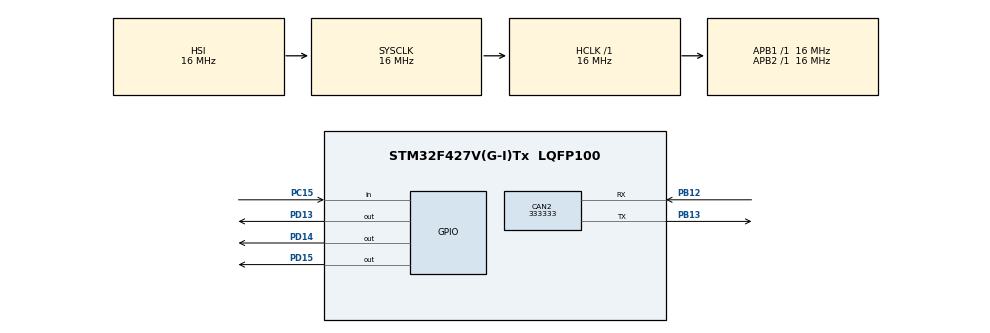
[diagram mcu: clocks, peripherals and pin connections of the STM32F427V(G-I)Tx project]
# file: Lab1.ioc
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CAN2.CalculateBaudRate=333333
CAN2.CalculateTimeBit=3000
CAN2.CalculateTimeQuantum=1000.0
Mcu.Family=STM32F4
Mcu.Name=STM32F427V(G-I)Tx
Mcu.Package=LQFP100
NVIC.PriorityGroup=NVIC_PRIORITYGROUP_4
PA13.Mode=JTAG_5_pins
PA13.Signal=SYS_JTMS-SWDIO
PA14.Mode=JTAG_5_pins
PA14.Signal=SYS_JTCK-SWCLK
PA15.Mode=JTAG_5_pins
PA15.Signal=SYS_JTDI
PB12.Mode=CAN_Activate
PB12.Signal=CAN2_RX
PB13.Mode=CAN_Activate
PB13.Signal=CAN2_TX
PB3.Mode=JTAG_5_pins
PB3.Signal=SYS_JTDO-SWO
PB4.Mode=JTAG_5_pins
PB4.Signal=SYS_JTRST
PC15/OSC32_OUT.Signal=GPIO_Input
PD13.PinState=GPIO_PIN_RESET
PD13.Signal=GPIO_Output
PD14.Signal=GPIO_Output
PD15.Signal=GPIO_Output
ProjectManager.HeapSize=0x200
ProjectManager.StackSize=0x400
ProjectManager.TargetToolchain=STM32CubeIDE
RCC.AHBFreq_Value=16000000
RCC.APB1Freq_Value=16000000
RCC.APB2Freq_Value=16000000
RCC.CortexFreq_Value=16000000
RCC.HSE_VALUE=25000000
RCC.HSI_VALUE=16000000
RCC.LSE_VALUE=32768
RCC.SYSCLKFreq_VALUE=16000000
RCC.VCOOutputFreq_Value=192000000
board=custom

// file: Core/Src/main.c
/* USER CODE BEGIN Header */
/**
  ******************************************************************************
  * @file           : main.c
  * @brief          : Main program body
  ******************************************************************************
  * @attention
  *
  * Copyright (c) 2024 STMicroelectronics.
  * All rights reserved.
  *
  * This software is licensed under terms that can be found in the LICENSE file
  * in the root directory of this software component.
  * If no LICENSE file comes with this software, it is provided AS-IS.
  *
  ******************************************************************************
  */
/* USER CODE END Header */
#include "main.h"

 CAN_HandleTypeDef hcan2;

void SystemClock_Config(void);
static void MX_GPIO_Init(void);
static void MX_CAN2_Init(void);

/* USER CODE BEGIN 0 */

void delay(uint32_t milliseconds)
{
  uint32_t startTick = HAL_GetTick();

  while((HAL_GetTick() - startTick) < milliseconds)
  {
  }
}

// 防抖相关变量
uint32_t last_button_press_time = 0;
uint8_t isButtonEnabled = 0;
uint8_t didUpdatedAtThatTime = 0;
const uint32_t debounce_delay = 10; // 防抖延迟（单位：毫秒）

uint8_t sparkling_mode = 0;

uint32_t last_sparking_time_1 = 0;
uint8_t sparkMode_1 = 0;
const uint32_t sparkling_delay_1 = 50; // 防抖延迟（单位：毫秒）
uint32_t last_sparking_time_2 = 0;
uint8_t sparkMode_2 = 0;
const uint32_t sparkling_delay_2 = 200; // 防抖延迟（单位：毫秒）
uint32_t last_sparking_time_3 = 0;
uint8_t sparkMode_3 = 0;
const uint32_t sparkling_delay_3 = 800; // 防抖延迟（单位：毫秒）

void Check_Button(void) {
	uint32_t current_time = HAL_GetTick();
	if (HAL_GPIO_ReadPin(GPIOC, GPIO_PIN_15) != isButtonEnabled) {
		isButtonEnabled = HAL_GPIO_ReadPin(GPIOC, GPIO_PIN_15);
		last_button_press_time = current_time;
		didUpdatedAtThatTime = 0;
	} else {
		if (current_time - last_button_press_time > debounce_delay && HAL_GPIO_ReadPin(GPIOC, GPIO_PIN_15) && didUpdatedAtThatTime == 0) {
			sparkling_mode = (sparkling_mode + 1) % 4;
			didUpdatedAtThatTime = 1;
		}
	}
}

void Spark(void) {
	uint32_t current_time = HAL_GetTick();

	if (sparkling_mode == 0) {
		mode_0();
	}
	if (sparkling_mode == 1) {
		mode_1(current_time);
	}
	if (sparkling_mode == 2) {
		mode_2(current_time);
	}
	if (sparkling_mode == 3) {
		mode_3(current_time);
	}
}

void mode_0(void) {
	HAL_GPIO_WritePin(GPIOD, GPIO_PIN_15, GPIO_PIN_RESET);
	HAL_GPIO_WritePin(GPIOD, GPIO_PIN_14, GPIO_PIN_SET);
	HAL_GPIO_WritePin(GPIOD, GPIO_PIN_13, GPIO_PIN_SET);
}

void mode_1(uint32_t current_time) {
	if (current_time - last_sparking_time_1 > sparkling_delay_1){
		sparkMode_1 = (sparkMode_1 + 1) % 2;
		last_sparking_time_1 = current_time;
	}

	if (sparkMode_1) {
		HAL_GPIO_WritePin(GPIOD, GPIO_PIN_15, GPIO_PIN_RESET);
		HAL_GPIO_WritePin(GPIOD, GPIO_PIN_14, GPIO_PIN_SET);
		HAL_GPIO_WritePin(GPIOD, GPIO_PIN_13, GPIO_PIN_RESET);
	} else {
		HAL_GPIO_WritePin(GPIOD, GPIO_PIN_15, GPIO_PIN_SET);
		HAL_GPIO_WritePin(GPIOD, GPIO_PIN_14, GPIO_PIN_RESET);
		HAL_GPIO_WritePin(GPIOD, GPIO_PIN_13, GPIO_PIN_SET);
	}
}

void mode_2(uint32_t current_time) {
	if (current_time - last_sparking_time_2 > sparkling_delay_2){
		sparkMode_2 = (sparkMode_2 + 1) % 2;
		last_sparking_time_2 = current_time;
	}

	if (sparkMode_2) {
		HAL_GPIO_WritePin(GPIOD, GPIO_PIN_15, GPIO_PIN_RESET);
		HAL_GPIO_WritePin(GPIOD, GPIO_PIN_14, GPIO_PIN_SET);
		HAL_GPIO_WritePin(GPIOD, GPIO_PIN_13, GPIO_PIN_SET);
	} else {
		HAL_GPIO_WritePin(GPIOD, GPIO_PIN_15, GPIO_PIN_SET);
		HAL_GPIO_WritePin(GPIOD, GPIO_PIN_14, GPIO_PIN_RESET);
		HAL_GPIO_WritePin(GPIOD, GPIO_PIN_13, GPIO_PIN_SET);
	}
}

void mode_3(uint32_t current_time) {
	if (current_time - last_sparking_time_3 > sparkling_delay_3){
		sparkMode_3 = (sparkMode_3 + 1) % 2;
		last_sparking_time_3 = current_time;
	}

	if (sparkMode_3) {
		HAL_GPIO_WritePin(GPIOD, GPIO_PIN_15, GPIO_PIN_RESET);
		HAL_GPIO_WritePin(GPIOD, GPIO_PIN_14, GPIO_PIN_SET);
		HAL_GPIO_WritePin(GPIOD, GPIO_PIN_13, GPIO_PIN_SET);
	} else {
		HAL_GPIO_WritePin(GPIOD, GPIO_PIN_15, GPIO_PIN_SET);
		HAL_GPIO_WritePin(GPIOD, GPIO_PIN_14, GPIO_PIN_RESET);
		HAL_GPIO_WritePin(GPIOD, GPIO_PIN_13, GPIO_PIN_RESET);
	}
}

/* USER CODE END 0 */

int main(void)
{
  /* USER CODE BEGIN 1 */
//	uint32_t last_button_press_time = 0;
//	const uint32_t debounce_delay = 50; // 防抖延迟（单位：毫秒）
  /* USER CODE END 1 */

  /* MCU Configuration--------------------------------------------------------*/

  /* Reset of all peripherals, Initializes the Flash interface and the Systick. */
  HAL_Init();

  /* Configure the system clock */
  SystemClock_Config();

  /* Initialize all configured peripherals */
  MX_GPIO_Init();
  MX_CAN2_Init();

  /* Infinite loop */
  /* USER CODE BEGIN WHILE */
  uint32_t lasttoggle_time = 0;

  uint8_t mode = 0;
  while (1)
  {
	  Check_Button();

	  Spark();

    /* USER CODE END WHILE */

  }
}

void SystemClock_Config(void)
{
  RCC_OscInitTypeDef RCC_OscInitStruct = {0};
  RCC_ClkInitTypeDef RCC_ClkInitStruct = {0};

  /** Configure the main internal regulator output voltage
  */
  __HAL_RCC_PWR_CLK_ENABLE();
  __HAL_PWR_VOLTAGESCALING_CONFIG(PWR_REGULATOR_VOLTAGE_SCALE3);

  /** Initializes the RCC Oscillators according to the specified parameters
  * in the RCC_OscInitTypeDef structure.
  */
  RCC_OscInitStruct.OscillatorType = RCC_OSCILLATORTYPE_HSI;
  RCC_OscInitStruct.HSIState = RCC_HSI_ON;
  RCC_OscInitStruct.HSICalibrationValue = RCC_HSICALIBRATION_DEFAULT;
  RCC_OscInitStruct.PLL.PLLState = RCC_PLL_NONE;
  if (HAL_RCC_OscConfig(&RCC_OscInitStruct) != HAL_OK)
  {
    Error_Handler();
  }

  /** Initializes the CPU, AHB and APB buses clocks
  */
  RCC_ClkInitStruct.ClockType = RCC_CLOCKTYPE_HCLK|RCC_CLOCKTYPE_SYSCLK
                              |RCC_CLOCKTYPE_PCLK1|RCC_CLOCKTYPE_PCLK2;
  RCC_ClkInitStruct.SYSCLKSource = RCC_SYSCLKSOURCE_HSI;
  RCC_ClkInitStruct.AHBCLKDivider = RCC_SYSCLK_DIV1;
  RCC_ClkInitStruct.APB1CLKDivider = RCC_HCLK_DIV1;
  RCC_ClkInitStruct.APB2CLKDivider = RCC_HCLK_DIV1;

  if (HAL_RCC_ClockConfig(&RCC_ClkInitStruct, FLASH_LATENCY_0) != HAL_OK)
  {
    Error_Handler();
  }
}

static void MX_CAN2_Init(void)
{

  hcan2.Instance = CAN2;
  hcan2.Init.Prescaler = 16;
  hcan2.Init.Mode = CAN_MODE_NORMAL;
  hcan2.Init.SyncJumpWidth = CAN_SJW_1TQ;
  hcan2.Init.TimeSeg1 = CAN_BS1_1TQ;
  hcan2.Init.TimeSeg2 = CAN_BS2_1TQ;
  hcan2.Init.TimeTriggeredMode = DISABLE;
  hcan2.Init.AutoBusOff = DISABLE;
  hcan2.Init.AutoWakeUp = DISABLE;
  hcan2.Init.AutoRetransmission = DISABLE;
  hcan2.Init.ReceiveFifoLocked = DISABLE;
  hcan2.Init.TransmitFifoPriority = DISABLE;
  if (HAL_CAN_Init(&hcan2) != HAL_OK)
  {
    Error_Handler();
  }

}

static void MX_GPIO_Init(void)
{
  GPIO_InitTypeDef GPIO_InitStruct = {0};

  /* GPIO Ports Clock Enable */
  __HAL_RCC_GPIOC_CLK_ENABLE();
  __HAL_RCC_GPIOB_CLK_ENABLE();
  __HAL_RCC_GPIOD_CLK_ENABLE();
  __HAL_RCC_GPIOA_CLK_ENABLE();

  /*Configure GPIO pin Output Level */
  HAL_GPIO_WritePin(GPIOD, GPIO_PIN_13|GPIO_PIN_14|GPIO_PIN_15, GPIO_PIN_RESET);

  /*Configure GPIO pin : PC15 */
  GPIO_InitStruct.Pin = GPIO_PIN_15;
  GPIO_InitStruct.Mode = GPIO_MODE_INPUT;
  GPIO_InitStruct.Pull = GPIO_NOPULL;
  HAL_GPIO_Init(GPIOC, &GPIO_InitStruct);

  /*Configure GPIO pins : PD13 PD14 PD15 */
  GPIO_InitStruct.Pin = GPIO_PIN_13|GPIO_PIN_14|GPIO_PIN_15;
  GPIO_InitStruct.Mode = GPIO_MODE_OUTPUT_PP;
  GPIO_InitStruct.Pull = GPIO_NOPULL;
  GPIO_InitStruct.Speed = GPIO_SPEED_FREQ_LOW;
  HAL_GPIO_Init(GPIOD, &GPIO_InitStruct);

}

void Error_Handler(void)
{
  __disable_irq();
  while (1)
  {
  }
}
